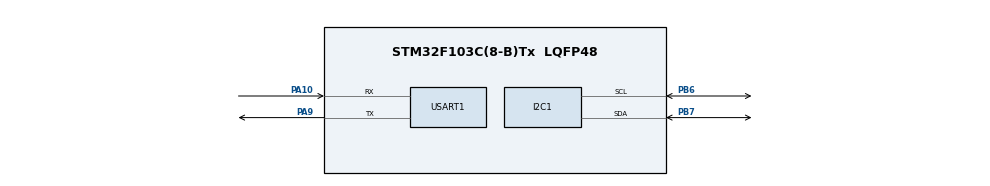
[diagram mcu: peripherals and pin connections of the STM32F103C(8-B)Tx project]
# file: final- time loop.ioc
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Mcu.Family=STM32F1
Mcu.Name=STM32F103C(8-B)Tx
Mcu.Package=LQFP48
NVIC.PriorityGroup=NVIC_PRIORITYGROUP_4
PA10.Mode=Asynchronous
PA10.Signal=USART1_RX
PA13.Mode=Serial_Wire
PA13.Signal=SYS_JTMS-SWDIO
PA14.Mode=Serial_Wire
PA14.Signal=SYS_JTCK-SWCLK
PA9.Mode=Asynchronous
PA9.Signal=USART1_TX
PB6.Mode=I2C
PB6.Signal=I2C1_SCL
PB7.Mode=I2C
PB7.Signal=I2C1_SDA
ProjectManager.HeapSize=0x200
ProjectManager.StackSize=0x400
ProjectManager.TargetToolchain=STM32CubeIDE
RCC.APB1Freq_Value=8000000
RCC.APB2Freq_Value=8000000
USART1.VirtualMode=VM_ASYNC
board=custom

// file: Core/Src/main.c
/* USER CODE BEGIN Header */
/**
  ******************************************************************************
  * @file           : main.c
  * @brief          : Main program body
  ******************************************************************************
  * @attention
  *
  * Copyright (c) 2025 STMicroelectronics.
  * All rights reserved.
  *
  * This software is licensed under terms that can be found in the LICENSE file
  * in the root directory of this software component.
  * If no LICENSE file comes with this software, it is provided AS-IS.
  *
  ******************************************************************************
  */
/* USER CODE END Header */
#include "main.h"

/* USER CODE BEGIN Includes */
#include "DHT.h"
#include "lcd_i2c.h"
#include "stdio.h"
/* USER CODE END Includes */

I2C_HandleTypeDef hi2c1;

UART_HandleTypeDef huart1;

/* USER CODE BEGIN PV */
DHT_DataTypedef dht;
char message[300];
char temp[50];
char humid[50];
/* USER CODE END PV */

void SystemClock_Config(void);
static void MX_GPIO_Init(void);
static void MX_I2C1_Init(void);
static void MX_USART1_UART_Init(void);
/* USER CODE BEGIN PFP */
void task1();
void task2();
void task3();
/* USER CODE END PFP */

int main(void)
{

  /* MCU Configuration--------------------------------------------------------*/

  /* Reset of all peripherals, Initializes the Flash interface and the Systick. */
  HAL_Init();

  /* Configure the system clock */
  SystemClock_Config();

  /* Initialize all configured peripherals */
  MX_GPIO_Init();
  MX_I2C1_Init();
  MX_USART1_UART_Init();

  /* Infinite loop */
  while (1)
  {
	  task1(); // Thực hiện Task 1

	  task2(); // Thực hiện Task 2

	  task3(); // Thực hiện Task 3
	  HAL_Delay(2000);
  }
}

void SystemClock_Config(void)
{
  RCC_OscInitTypeDef RCC_OscInitStruct = {0};
  RCC_ClkInitTypeDef RCC_ClkInitStruct = {0};

  /** Initializes the RCC Oscillators according to the specified parameters
  * in the RCC_OscInitTypeDef structure.
  */
  RCC_OscInitStruct.OscillatorType = RCC_OSCILLATORTYPE_HSI;
  RCC_OscInitStruct.HSIState = RCC_HSI_ON;
  RCC_OscInitStruct.HSICalibrationValue = RCC_HSICALIBRATION_DEFAULT;
  RCC_OscInitStruct.PLL.PLLState = RCC_PLL_NONE;
  if (HAL_RCC_OscConfig(&RCC_OscInitStruct) != HAL_OK)
  {
    Error_Handler();
  }

  /** Initializes the CPU, AHB and APB buses clocks
  */
  RCC_ClkInitStruct.ClockType = RCC_CLOCKTYPE_HCLK|RCC_CLOCKTYPE_SYSCLK
                              |RCC_CLOCKTYPE_PCLK1|RCC_CLOCKTYPE_PCLK2;
  RCC_ClkInitStruct.SYSCLKSource = RCC_SYSCLKSOURCE_HSI;
  RCC_ClkInitStruct.AHBCLKDivider = RCC_SYSCLK_DIV1;
  RCC_ClkInitStruct.APB1CLKDivider = RCC_HCLK_DIV1;
  RCC_ClkInitStruct.APB2CLKDivider = RCC_HCLK_DIV1;

  if (HAL_RCC_ClockConfig(&RCC_ClkInitStruct, FLASH_LATENCY_0) != HAL_OK)
  {
    Error_Handler();
  }
}

static void MX_I2C1_Init(void)
{

  hi2c1.Instance = I2C1;
  hi2c1.Init.ClockSpeed = 100000;
  hi2c1.Init.DutyCycle = I2C_DUTYCYCLE_2;
  hi2c1.Init.OwnAddress1 = 0;
  hi2c1.Init.AddressingMode = I2C_ADDRESSINGMODE_7BIT;
  hi2c1.Init.DualAddressMode = I2C_DUALADDRESS_DISABLE;
  hi2c1.Init.OwnAddress2 = 0;
  hi2c1.Init.GeneralCallMode = I2C_GENERALCALL_DISABLE;
  hi2c1.Init.NoStretchMode = I2C_NOSTRETCH_DISABLE;
  if (HAL_I2C_Init(&hi2c1) != HAL_OK)
  {
    Error_Handler();
  }

}

static void MX_USART1_UART_Init(void)
{

  huart1.Instance = USART1;
  huart1.Init.BaudRate = 115200;
  huart1.Init.WordLength = UART_WORDLENGTH_8B;
  huart1.Init.StopBits = UART_STOPBITS_1;
  huart1.Init.Parity = UART_PARITY_NONE;
  huart1.Init.Mode = UART_MODE_TX_RX;
  huart1.Init.HwFlowCtl = UART_HWCONTROL_NONE;
  huart1.Init.OverSampling = UART_OVERSAMPLING_16;
  if (HAL_UART_Init(&huart1) != HAL_OK)
  {
    Error_Handler();
  }

}

static void MX_GPIO_Init(void)
{

  /* GPIO Ports Clock Enable */
  __HAL_RCC_GPIOA_CLK_ENABLE();
  __HAL_RCC_GPIOB_CLK_ENABLE();

}

/* USER CODE BEGIN 4 */
void task1(){
	 //HAL_GPIO_TogglePin(GPIOA, GPIO_PIN_5);
	DHT_GetData(&dht);
}

void task2(){
	 //HAL_GPIO_TogglePin(GPIOA, GPIO_PIN_6);
	uint8_t length = snprintf(message, sizeof(message), "Nhiet do: %.2f va Do am: %.2f\n", dht.Temperature, dht.Humidity);
	HAL_UART_Transmit(&huart1, (uint8_t*)message, length, HAL_MAX_DELAY);
}

void task3(){
	//HAL_GPIO_TogglePin(GPIOA, GPIO_PIN_7);
	lcd_put_cur(0,0);
	snprintf(temp,sizeof(temp),"Nhiet do: %.2f",dht.Temperature);
	snprintf(humid,sizeof(humid),"Do am: %.2f",dht.Humidity);
	lcd_send_string(temp);
	lcd_put_cur(1,0);
	lcd_send_string(humid);
}
/* USER CODE END 4 */

void Error_Handler(void)
{
  __disable_irq();
  while (1)
  {
  }
}
